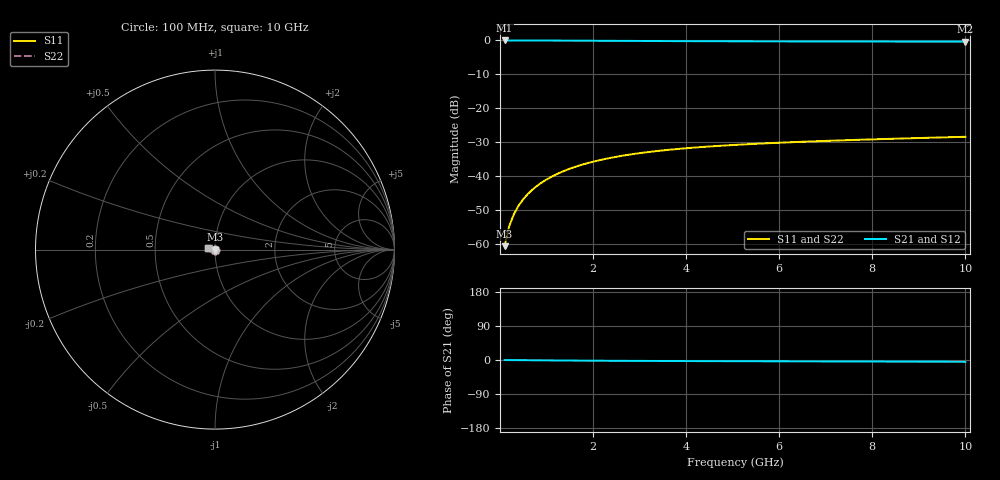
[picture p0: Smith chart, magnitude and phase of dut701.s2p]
! Touchstone file exported from HFSS 2024.1.0
!  File:  C:/UserFiles/LocalFiles/RDL_TSV_Batchsim/temp_TSV1_701_1779866348.aedt
!  Generated:  03:26:04 PM May 27, 2026
!  Design:  TSV1
!  Project:  temp_TSV1_701_1779866348
!  Setup:  Setup1
!  Solution:  Sweep
! Variables:
!  dtsv = 8.63um
!  hbump = 3um
!  htsv = 71.24um
!  lrdl = 252.1521522um
!  p = 40
!  p1 = 49.94um
!  t = 500um
!  trdl = 3um
!  wrdl = 24.89489489um
# GHz S MA R 50.000000
! Terminal data exported
! Port[1] = TSV22_T1
! Port[2] = TSV22_T2
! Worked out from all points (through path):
!   100 points, 100 MHz to 10 GHz, reference 50 ohm
!   highest |S21| = 0.00 dB at 100 MHz (marker M1); lowest = -0.4 dB at 10 GHz (marker M2)
!   lowest |S11| = -60.6 dB at 100 MHz (marker M3), VSWR 1.00, Z = 50 - j0.0917 ohm
!   |S11| at or under -10 dB: start of sweep to end of sweep
!   |S22| runs from -60.6 to -28.4 dB; largest |S21 - S12| = 7e-15
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0.1  0.0009293 -80.6  0.9998 -0.1  0.9998 -0.1  0.0009293 -80.6
! Gamma 0 0 0 0
! Port Impedance 50 0 50 0
0.2  0.00184 -87.9  0.9997 -0.2  0.9997 -0.2  0.00184 -87.9
0.3  0.002756 -91.7  0.9995 -0.3  0.9995 -0.3  0.002756 -91.7
0.4  0.003667 -94.6  0.9993 -0.4  0.9993 -0.4  0.003667 -94.6
0.5  0.00457 -97.1  0.999 -0.5  0.999 -0.5  0.00457 -97.1
0.6  0.005464 -99.3  0.9987 -0.6  0.9987 -0.6  0.005464 -99.3
0.7  0.006348 -101.5  0.9983 -0.7  0.9983 -0.7  0.006348 -101.5
0.8  0.007218 -103.6  0.9978 -0.8  0.9978 -0.8  0.007218 -103.6
0.9  0.008075 -105.6  0.9974 -0.9  0.9974 -0.9  0.008075 -105.6
1.1  0.009741 -109.4  0.9963 -1.1  0.9963 -1.1  0.009741 -109.4
1.4  0.01211 -114.9  0.9944 -1.4  0.9944 -1.4  0.01211 -114.9
1.6  0.01359 -118.4  0.993 -1.5  0.993 -1.5  0.01359 -118.4
1.8  0.015 -121.7  0.9916 -1.7  0.9916 -1.7  0.015 -121.7
2.1  0.01696 -126.5  0.9894 -1.9  0.9894 -1.9  0.01696 -126.5
2.5  0.01929 -132.4  0.9864 -2.1  0.9864 -2.1  0.01929 -132.4
2.9  0.02134 -137.9  0.9836 -2.3  0.9836 -2.3  0.02134 -137.9
3.4  0.02356 -144.1  0.9803 -2.6  0.9803 -2.6  0.02356 -144.1
4.2  0.02644 -152.9  0.9757 -2.9  0.9757 -2.9  0.02644 -152.9
5.1  0.029 -161.4  0.9716 -3.2  0.9716 -3.2  0.029 -161.4
6.7  0.0325 -173.7  0.9663 -3.7  0.9663 -3.7  0.0325 -173.7
8.4  0.03549 175.8  0.9626 -4.2  0.9626 -4.2  0.03549 175.8
10  0.03803 167.5  0.9603 -4.7  0.9603 -4.7  0.03803 167.5
